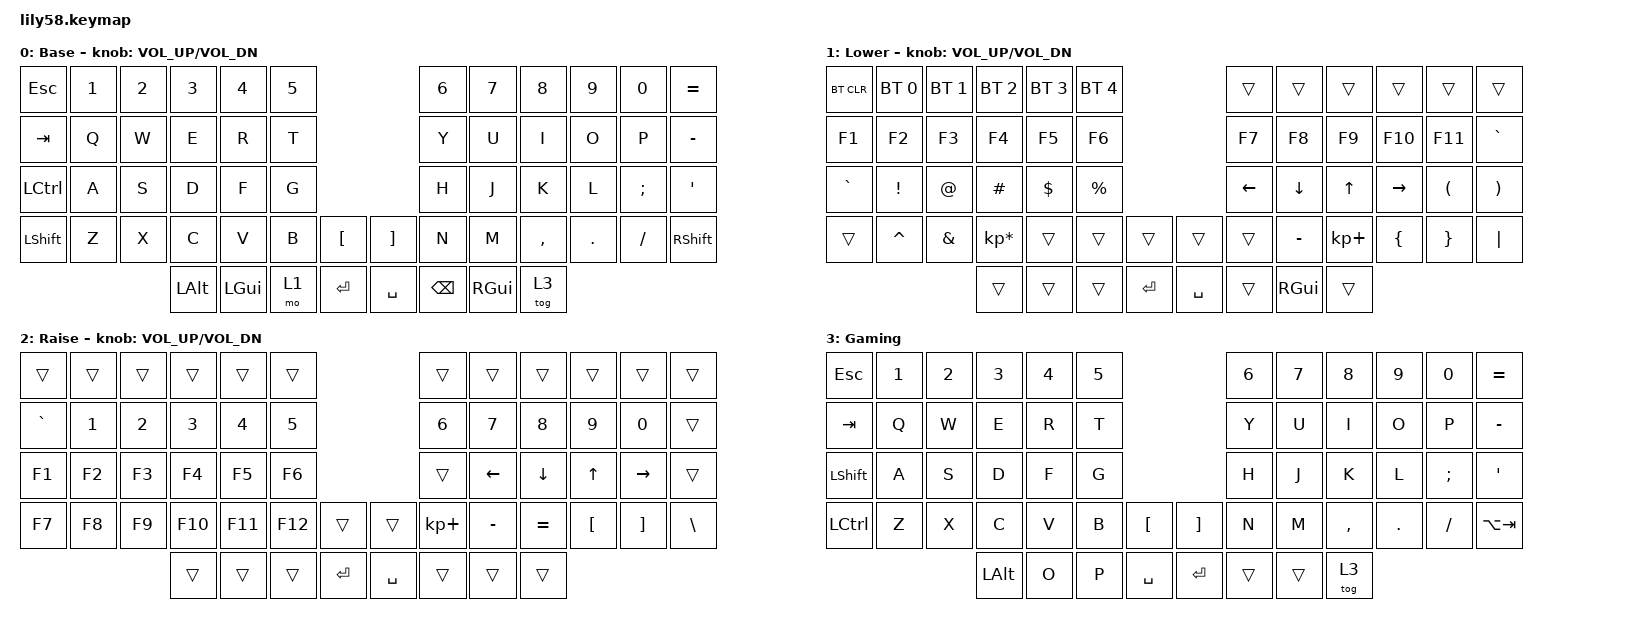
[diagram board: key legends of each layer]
/*
 * Copyright (c) 2020 The ZMK Contributors
 *
 * SPDX-License-Identifier: MIT
 */

#include <behaviors.dtsi>
#include <dt-bindings/zmk/bt.h>
#include <dt-bindings/zmk/keys.h>

/ {
    keymap {
        compatible = "zmk,keymap";

        default_layer {
            // ------------------------------------------------------------------------------------------------------------
            // |  ESC  |  1  |  2  |  3   |  4   |  5   |                   |  6   |  7    |  8    |  9   |   0   |   `   |
            // |  TAB  |  Q  |  W  |  E   |  R   |  T   |                   |  Y   |  U    |  I    |  O   |   P   |   -   |
            // |  CTRL |  A  |  S  |  D   |  F   |  G   |                   |  H   |  J    |  K    |  L   |   ;   |   '   |
            // | SHIFT |  Z  |  X  |  C   |  V   |  B   |   "["  |  |  "]"  |  N   |  M    |  ,    |  .   |   /   | SHIFT |
            //                     | ALT  | GUI  | LOWER|  SPACE |  | ENTER | RAISE| BSPC  | GUI   |

            display-name = "Base";
            bindings = <
&kp ESC    &kp N1  &kp N2  &kp N3    &kp N4    &kp N5                         &kp N6         &kp N7    &kp N8     &kp N9   &kp N0    &kp EQUAL
&kp TAB    &kp Q   &kp W   &kp E     &kp R     &kp T                          &kp Y          &kp U     &kp I      &kp O    &kp P     &kp MINUS
&kp LCTRL  &kp A   &kp S   &kp D     &kp F     &kp G                          &kp H          &kp J     &kp K      &kp L    &kp SEMI  &kp SQT
&kp LSHFT  &kp Z   &kp X   &kp C     &kp V     &kp B   &kp LBKT    &kp RBKT   &kp N          &kp M     &kp COMMA  &kp DOT  &kp FSLH  &kp RSHFT
                           &kp LALT  &kp LGUI  &mo 1   &kp RET     &kp SPACE  &kp BACKSPACE  &kp RGUI  &tog 3
            >;

            sensor-bindings = <&inc_dec_kp C_VOL_UP C_VOL_DN>;
        };

        lower_layer {
            // ------------------------------------------------------------------------------------------------------------
            // | BTCLR | BT1 | BT2 |  BT3 |  BT4 |  BT5 |                   |      |       |       |      |       |       |
            // |  F1   |  F2 |  F3 |  F4  |  F5  |  F6  |                   |  F7  |  F8   |  F9   |  F10 |  F11  |  F12  |
            // |   `   |  !  |  @  |  #   |  $   |  %   |                   |  ^   |  &    |  *    |  (   |   )   |   ~   |
            // |       |     |     |      |      |      |        |  |       |      |  _    |  +    |  {   |   }   |  "|"  |
            //                     |      |      |      |        |  |       |      |       |       |

            display-name = "Lower";
            bindings = <
&bt BT_CLR  &bt BT_SEL 0  &bt BT_SEL 1  &bt BT_SEL 2     &bt BT_SEL 3  &bt BT_SEL 4                          &trans          &trans          &trans        &trans     &trans                &trans
&kp F1      &kp F2        &kp F3        &kp F4           &kp F5        &kp F6                                &kp F7          &kp F8          &kp F9        &kp F10    &kp F11               &kp GRAVE
&kp GRAVE   &kp EXCL      &kp AT        &kp HASH         &kp DOLLAR    &kp PRCNT                             &kp LEFT_ARROW  &kp DOWN_ARROW  &kp UP_ARROW  &kp RIGHT  &kp LEFT_PARENTHESIS  &kp RIGHT_PARENTHESIS
&trans      &kp CARET     &kp AMPS      &kp KP_ASTERISK  &trans        &trans        &trans       &trans     &trans          &kp MINUS       &kp KP_PLUS   &kp LBRC   &kp RBRC              &kp PIPE
                                        &trans           &trans        &trans        &kp ENTER    &kp SPACE  &trans          &kp RIGHT_GUI   &trans
            >;

            sensor-bindings = <&inc_dec_kp C_VOL_UP C_VOL_DN>;
        };

        raise_layer {
            // ------------------------------------------------------------------------------------------------------------
            // |       |     |     |      |      |      |                   |      |       |       |      |       |       |
            // |   `   |  1  |  2  |  3   |  4   |  5   |                   |  6   |   7   |   8   |  9   |   0   |       |
            // |   F1  |  F2 |  F3 |  F4  |  F5  |  F6  |                   |      |   <-  |   v   |  ^   |  ->   |       |
            // |   F7  |  F8 |  F9 |  F10 |  F11 |  F12 |        |  |       |  +   |   -   |   =   |  [   |   ]   |   \   |
            //                     |      |      |      |        |  |       |      |       |       |

            display-name = "Raise";
            bindings = <
&trans     &trans  &trans  &trans   &trans   &trans                         &trans       &trans     &trans     &trans    &trans     &trans
&kp GRAVE  &kp N1  &kp N2  &kp N3   &kp N4   &kp N5                         &kp N6       &kp N7     &kp N8     &kp N9    &kp N0     &trans
&kp F1     &kp F2  &kp F3  &kp F4   &kp F5   &kp F6                         &trans       &kp LEFT   &kp DOWN   &kp UP    &kp RIGHT  &trans
&kp F7     &kp F8  &kp F9  &kp F10  &kp F11  &kp F12  &trans     &trans     &kp KP_PLUS  &kp MINUS  &kp EQUAL  &kp LBKT  &kp RBKT   &kp BSLH
                           &trans   &trans   &trans   &kp RET    &kp SPACE  &trans       &trans     &trans
            >;

            sensor-bindings = <&inc_dec_kp C_VOL_UP C_VOL_DN>;
        };

        GAMING_LAYER {
            bindings = <
&kp ESC         &kp N1  &kp N2  &kp N3        &kp N4  &kp N5                                &kp N6  &kp N7  &kp N8     &kp N9   &kp N0    &kp EQUAL
&kp TAB         &kp Q   &kp W   &kp E         &kp R   &kp T                                 &kp Y   &kp U   &kp I      &kp O    &kp P     &kp MINUS
&kp LEFT_SHIFT  &kp A   &kp S   &kp D         &kp F   &kp G                                 &kp H   &kp J   &kp K      &kp L    &kp SEMI  &kp SQT
&kp LCTRL       &kp Z   &kp X   &kp C         &kp V   &kp B   &kp LEFT_BRACKET    &kp RBKT  &kp N   &kp M   &kp COMMA  &kp DOT  &kp FSLH  &kp LA(TAB)
                                &kp LEFT_ALT  &kp O   &kp P   &kp SPACE           &kp RET   &trans  &trans  &tog 3
            >;

            label = "Gaming";
        };
    };
};
